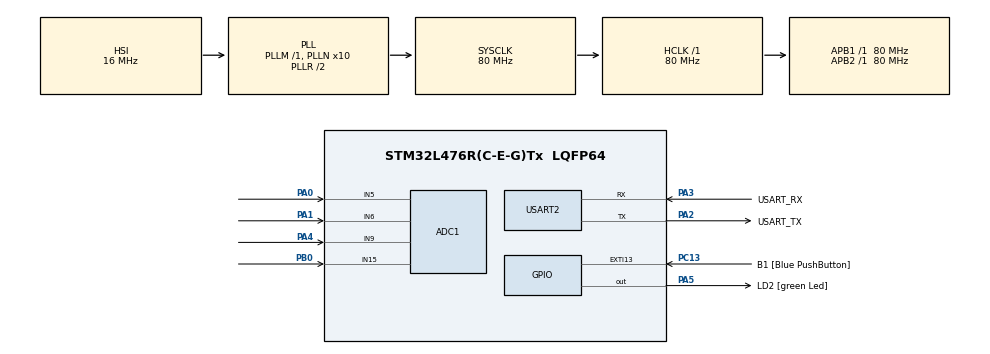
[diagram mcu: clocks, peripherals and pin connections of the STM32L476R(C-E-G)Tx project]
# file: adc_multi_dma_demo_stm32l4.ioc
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ADC1.Channel-0\#ChannelRegularConversion=ADC_CHANNEL_5
ADC1.Channel-1\#ChannelRegularConversion=ADC_CHANNEL_6
ADC1.Channel-2\#ChannelRegularConversion=ADC_CHANNEL_9
ADC1.Channel-3\#ChannelRegularConversion=ADC_CHANNEL_15
ADC1.ClockPrescaler=ADC_CLOCK_ASYNC_DIV4
ADC1.ContinuousConvMode=ENABLE
ADC1.DMAContinuousRequests=ENABLE
ADC1.EOCSelection=ADC_EOC_SEQ_CONV
ADC1.NbrOfConversion=4
ADC1.NbrOfConversionFlag=1
ADC1.OffsetNumber-0\#ChannelRegularConversion=ADC_OFFSET_NONE
ADC1.OffsetNumber-1\#ChannelRegularConversion=ADC_OFFSET_NONE
ADC1.OffsetNumber-2\#ChannelRegularConversion=ADC_OFFSET_NONE
ADC1.OffsetNumber-3\#ChannelRegularConversion=ADC_OFFSET_NONE
ADC1.Rank-0\#ChannelRegularConversion=1
ADC1.Rank-1\#ChannelRegularConversion=2
ADC1.Rank-2\#ChannelRegularConversion=3
ADC1.Rank-3\#ChannelRegularConversion=4
ADC1.SamplingTime-0\#ChannelRegularConversion=ADC_SAMPLETIME_12CYCLES_5
ADC1.SamplingTime-1\#ChannelRegularConversion=ADC_SAMPLETIME_12CYCLES_5
ADC1.SamplingTime-2\#ChannelRegularConversion=ADC_SAMPLETIME_12CYCLES_5
ADC1.SamplingTime-3\#ChannelRegularConversion=ADC_SAMPLETIME_12CYCLES_5
ADC1.master=1
Dma.ADC1.0.Direction=DMA_PERIPH_TO_MEMORY
Dma.ADC1.0.Instance=DMA1_Channel1
Dma.ADC1.0.MemDataAlignment=DMA_MDATAALIGN_HALFWORD
Dma.ADC1.0.MemInc=DMA_MINC_ENABLE
Dma.ADC1.0.Mode=DMA_CIRCULAR
Dma.ADC1.0.PeriphDataAlignment=DMA_PDATAALIGN_HALFWORD
Dma.ADC1.0.PeriphInc=DMA_PINC_DISABLE
Dma.ADC1.0.Priority=DMA_PRIORITY_LOW
Dma.Request0=ADC1
Mcu.Family=STM32L4
Mcu.Name=STM32L476R(C-E-G)Tx
Mcu.Package=LQFP64
NVIC.DMA1_Channel1_IRQn=true\:0\:0\:false\:false\:true\:false\:true
NVIC.PriorityGroup=NVIC_PRIORITYGROUP_4
PA0.Signal=ADCx_IN5
PA1.Signal=ADCx_IN6
PA13\ (JTMS-SWDIO).GPIO_Label=TMS
PA13\ (JTMS-SWDIO).Mode=Serial_Wire
PA13\ (JTMS-SWDIO).Signal=SYS_JTMS-SWDIO
PA14\ (JTCK-SWCLK).GPIO_Label=TCK
PA14\ (JTCK-SWCLK).Mode=Serial_Wire
PA14\ (JTCK-SWCLK).Signal=SYS_JTCK-SWCLK
PA2.GPIO_Label=USART_TX
PA2.GPIO_Mode=GPIO_MODE_AF_PP
PA2.GPIO_PuPd=GPIO_NOPULL
PA2.GPIO_Speed=GPIO_SPEED_FREQ_VERY_HIGH
PA2.Mode=Asynchronous
PA2.Signal=USART2_TX
PA3.GPIO_Label=USART_RX
PA3.GPIO_Mode=GPIO_MODE_AF_PP
PA3.GPIO_PuPd=GPIO_NOPULL
PA3.GPIO_Speed=GPIO_SPEED_FREQ_VERY_HIGH
PA3.Mode=Asynchronous
PA3.Signal=USART2_RX
PA4.Signal=ADCx_IN9
PA5.GPIO_Label=LD2 [green Led]
PA5.GPIO_ModeDefaultOutputPP=GPIO_MODE_OUTPUT_PP
PA5.GPIO_PuPd=GPIO_NOPULL
PA5.GPIO_Speed=GPIO_SPEED_FREQ_LOW
PA5.Signal=GPIO_Output
PB0.Signal=ADCx_IN15
PB3\ (JTDO-TRACESWO).GPIO_Label=SWO
PB3\ (JTDO-TRACESWO).Signal=SYS_JTDO-SWO
PC13.GPIO_Label=B1 [Blue PushButton]
PC13.GPIO_ModeDefaultEXTI=GPIO_MODE_IT_FALLING
PC13.GPIO_PuPd=GPIO_NOPULL
PC13.Signal=GPXTI13
PC14-OSC32_IN\ (PC14).Mode=LSE-External-Oscillator
PC14-OSC32_IN\ (PC14).Signal=RCC_OSC32_IN
PC15-OSC32_OUT\ (PC15).Mode=LSE-External-Oscillator
PC15-OSC32_OUT\ (PC15).Signal=RCC_OSC32_OUT
PH0-OSC_IN\ (PH0).Signal=RCC_OSC_IN
PH1-OSC_OUT\ (PH1).Signal=RCC_OSC_OUT
ProjectManager.HeapSize=0x200
ProjectManager.StackSize=0x400
ProjectManager.TargetToolchain=STM32CubeIDE
RCC.ADCFreq_Value=64000000
RCC.AHBFreq_Value=80000000
RCC.APB1Freq_Value=80000000
RCC.APB1TimFreq_Value=80000000
RCC.APB2Freq_Value=80000000
RCC.APB2TimFreq_Value=80000000
RCC.CortexFreq_Value=80000000
RCC.HCLKFreq_Value=80000000
RCC.HSE_VALUE=8000000
RCC.HSI_VALUE=16000000
RCC.MSI_VALUE=4000000
RCC.PLLN=10
RCC.PLLSourceVirtual=RCC_PLLSOURCE_HSI
RCC.PREFETCH_ENABLE=1
RCC.SYSCLKFreq_VALUE=80000000
RCC.SYSCLKSource=RCC_SYSCLKSOURCE_PLLCLK
RCC.USBFreq_Value=64000000
RCC.VCOOutputFreq_Value=160000000
SH.ADCx_IN15.0=ADC1_IN15,IN15-Single-Ended
SH.ADCx_IN5.0=ADC1_IN5,IN5-Single-Ended
SH.ADCx_IN6.0=ADC1_IN6,IN6-Single-Ended
SH.ADCx_IN9.0=ADC1_IN9,IN9-Single-Ended
USART2.VirtualMode-Asynchronous=VM_ASYNC
board=NUCLEO-L476RG

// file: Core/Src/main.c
/* USER CODE BEGIN Header */
/**
  ******************************************************************************
  * @file           : main.c
  * @brief          : Main program body
  ******************************************************************************
  * @attention
  *
  * Copyright (c) 2022 STMicroelectronics.
  * All rights reserved.
  *
  * This software is licensed under terms that can be found in the LICENSE file
  * in the root directory of this software component.
  * If no LICENSE file comes with this software, it is provided AS-IS.
  *
  ******************************************************************************
  */
/* USER CODE END Header */
#include "main.h"

/* USER CODE BEGIN Includes */
#include <stdio.h>
#include <string.h>
/* USER CODE END Includes */

/* USER CODE BEGIN PD */
#define NUM_ADC_INPUTS 4
/* USER CODE END PD */

ADC_HandleTypeDef hadc1;
DMA_HandleTypeDef hdma_adc1;

UART_HandleTypeDef huart2;

/* USER CODE BEGIN PV */
uint16_t adc_data_buf[NUM_ADC_INPUTS];

uint16_t adc_data0;
uint16_t adc_data1;
uint16_t adc_data2;
uint16_t adc_data3;
/* USER CODE END PV */

void SystemClock_Config(void);
static void MX_GPIO_Init(void);
static void MX_USART2_UART_Init(void);
static void MX_DMA_Init(void);
static void MX_ADC1_Init(void);
/* USER CODE BEGIN PFP */
int _write(int fd, char* ptr, int len) {
    HAL_UART_Transmit(&huart2, (uint8_t *) ptr, len, HAL_MAX_DELAY);
    return len;
}
/* USER CODE END PFP */

int main(void)
{

  /* MCU Configuration--------------------------------------------------------*/

  /* Reset of all peripherals, Initializes the Flash interface and the Systick. */
  HAL_Init();

  /* Configure the system clock */
  SystemClock_Config();

  /* Initialize all configured peripherals */
  MX_GPIO_Init();
  MX_USART2_UART_Init();
  MX_DMA_Init();
  MX_ADC1_Init();
  /* USER CODE BEGIN 2 */
  HAL_ADC_Start_DMA(&hadc1, (uint32_t*)adc_data_buf, NUM_ADC_INPUTS);

  /* USER CODE END 2 */

  /* Infinite loop */
  while (1)
  {

    /* USER CODE BEGIN 3 */
	  printf("A0: %hu \t A1: %hu \t A2: %hu \t A3: %hu\r\n", adc_data0, adc_data1, adc_data2, adc_data3);

//	  HAL_GPIO_WritePin(LD2_GPIO_Port, LD2_Pin, GPIO_PIN_SET);
//	  HAL_Delay(1000);
//	  HAL_GPIO_WritePin(LD2_GPIO_Port, LD2_Pin, GPIO_PIN_RESET);
//	  HAL_Delay(1000);
  }
  /* USER CODE END 3 */
}

void SystemClock_Config(void)
{
  RCC_OscInitTypeDef RCC_OscInitStruct = {0};
  RCC_ClkInitTypeDef RCC_ClkInitStruct = {0};

  /** Configure the main internal regulator output voltage
  */
  if (HAL_PWREx_ControlVoltageScaling(PWR_REGULATOR_VOLTAGE_SCALE1) != HAL_OK)
  {
    Error_Handler();
  }
  /** Initializes the RCC Oscillators according to the specified parameters
  * in the RCC_OscInitTypeDef structure.
  */
  RCC_OscInitStruct.OscillatorType = RCC_OSCILLATORTYPE_HSI;
  RCC_OscInitStruct.HSIState = RCC_HSI_ON;
  RCC_OscInitStruct.HSICalibrationValue = RCC_HSICALIBRATION_DEFAULT;
  RCC_OscInitStruct.PLL.PLLState = RCC_PLL_ON;
  RCC_OscInitStruct.PLL.PLLSource = RCC_PLLSOURCE_HSI;
  RCC_OscInitStruct.PLL.PLLM = 1;
  RCC_OscInitStruct.PLL.PLLN = 10;
  RCC_OscInitStruct.PLL.PLLP = RCC_PLLP_DIV7;
  RCC_OscInitStruct.PLL.PLLQ = RCC_PLLQ_DIV2;
  RCC_OscInitStruct.PLL.PLLR = RCC_PLLR_DIV2;
  if (HAL_RCC_OscConfig(&RCC_OscInitStruct) != HAL_OK)
  {
    Error_Handler();
  }
  /** Initializes the CPU, AHB and APB buses clocks
  */
  RCC_ClkInitStruct.ClockType = RCC_CLOCKTYPE_HCLK|RCC_CLOCKTYPE_SYSCLK
                              |RCC_CLOCKTYPE_PCLK1|RCC_CLOCKTYPE_PCLK2;
  RCC_ClkInitStruct.SYSCLKSource = RCC_SYSCLKSOURCE_PLLCLK;
  RCC_ClkInitStruct.AHBCLKDivider = RCC_SYSCLK_DIV1;
  RCC_ClkInitStruct.APB1CLKDivider = RCC_HCLK_DIV1;
  RCC_ClkInitStruct.APB2CLKDivider = RCC_HCLK_DIV1;

  if (HAL_RCC_ClockConfig(&RCC_ClkInitStruct, FLASH_LATENCY_4) != HAL_OK)
  {
    Error_Handler();
  }
}

static void MX_ADC1_Init(void)
{

  ADC_MultiModeTypeDef multimode = {0};
  ADC_ChannelConfTypeDef sConfig = {0};

  /** Common config
  */
  hadc1.Instance = ADC1;
  hadc1.Init.ClockPrescaler = ADC_CLOCK_ASYNC_DIV4;
  hadc1.Init.Resolution = ADC_RESOLUTION_12B;
  hadc1.Init.DataAlign = ADC_DATAALIGN_RIGHT;
  hadc1.Init.ScanConvMode = ADC_SCAN_ENABLE;
  hadc1.Init.EOCSelection = ADC_EOC_SEQ_CONV;
  hadc1.Init.LowPowerAutoWait = DISABLE;
  hadc1.Init.ContinuousConvMode = ENABLE;
  hadc1.Init.NbrOfConversion = 4;
  hadc1.Init.DiscontinuousConvMode = DISABLE;
  hadc1.Init.ExternalTrigConv = ADC_SOFTWARE_START;
  hadc1.Init.ExternalTrigConvEdge = ADC_EXTERNALTRIGCONVEDGE_NONE;
  hadc1.Init.DMAContinuousRequests = ENABLE;
  hadc1.Init.Overrun = ADC_OVR_DATA_PRESERVED;
  hadc1.Init.OversamplingMode = DISABLE;
  if (HAL_ADC_Init(&hadc1) != HAL_OK)
  {
    Error_Handler();
  }
  /** Configure the ADC multi-mode
  */
  multimode.Mode = ADC_MODE_INDEPENDENT;
  if (HAL_ADCEx_MultiModeConfigChannel(&hadc1, &multimode) != HAL_OK)
  {
    Error_Handler();
  }
  /** Configure Regular Channel
  */
  sConfig.Channel = ADC_CHANNEL_5;
  sConfig.Rank = ADC_REGULAR_RANK_1;
  sConfig.SamplingTime = ADC_SAMPLETIME_12CYCLES_5;
  sConfig.SingleDiff = ADC_SINGLE_ENDED;
  sConfig.OffsetNumber = ADC_OFFSET_NONE;
  sConfig.Offset = 0;
  if (HAL_ADC_ConfigChannel(&hadc1, &sConfig) != HAL_OK)
  {
    Error_Handler();
  }
  /** Configure Regular Channel
  */
  sConfig.Channel = ADC_CHANNEL_6;
  sConfig.Rank = ADC_REGULAR_RANK_2;
  if (HAL_ADC_ConfigChannel(&hadc1, &sConfig) != HAL_OK)
  {
    Error_Handler();
  }
  /** Configure Regular Channel
  */
  sConfig.Channel = ADC_CHANNEL_9;
  sConfig.Rank = ADC_REGULAR_RANK_3;
  if (HAL_ADC_ConfigChannel(&hadc1, &sConfig) != HAL_OK)
  {
    Error_Handler();
  }
  /** Configure Regular Channel
  */
  sConfig.Channel = ADC_CHANNEL_15;
  sConfig.Rank = ADC_REGULAR_RANK_4;
  if (HAL_ADC_ConfigChannel(&hadc1, &sConfig) != HAL_OK)
  {
    Error_Handler();
  }

}

static void MX_USART2_UART_Init(void)
{

  huart2.Instance = USART2;
  huart2.Init.BaudRate = 115200;
  huart2.Init.WordLength = UART_WORDLENGTH_8B;
  huart2.Init.StopBits = UART_STOPBITS_1;
  huart2.Init.Parity = UART_PARITY_NONE;
  huart2.Init.Mode = UART_MODE_TX_RX;
  huart2.Init.HwFlowCtl = UART_HWCONTROL_NONE;
  huart2.Init.OverSampling = UART_OVERSAMPLING_16;
  huart2.Init.OneBitSampling = UART_ONE_BIT_SAMPLE_DISABLE;
  huart2.AdvancedInit.AdvFeatureInit = UART_ADVFEATURE_NO_INIT;
  if (HAL_UART_Init(&huart2) != HAL_OK)
  {
    Error_Handler();
  }

}

static void MX_DMA_Init(void)
{

  /* DMA controller clock enable */
  __HAL_RCC_DMA1_CLK_ENABLE();

  /* DMA interrupt init */
  /* DMA1_Channel1_IRQn interrupt configuration */
  HAL_NVIC_SetPriority(DMA1_Channel1_IRQn, 0, 0);
  HAL_NVIC_EnableIRQ(DMA1_Channel1_IRQn);

}

static void MX_GPIO_Init(void)
{
  GPIO_InitTypeDef GPIO_InitStruct = {0};

  /* GPIO Ports Clock Enable */
  __HAL_RCC_GPIOC_CLK_ENABLE();
  __HAL_RCC_GPIOH_CLK_ENABLE();
  __HAL_RCC_GPIOA_CLK_ENABLE();
  __HAL_RCC_GPIOB_CLK_ENABLE();

  /*Configure GPIO pin Output Level */
  HAL_GPIO_WritePin(LD2_GPIO_Port, LD2_Pin, GPIO_PIN_RESET);

  /*Configure GPIO pin : B1_Pin */
  GPIO_InitStruct.Pin = B1_Pin;
  GPIO_InitStruct.Mode = GPIO_MODE_IT_FALLING;
  GPIO_InitStruct.Pull = GPIO_NOPULL;
  HAL_GPIO_Init(B1_GPIO_Port, &GPIO_InitStruct);

  /*Configure GPIO pin : LD2_Pin */
  GPIO_InitStruct.Pin = LD2_Pin;
  GPIO_InitStruct.Mode = GPIO_MODE_OUTPUT_PP;
  GPIO_InitStruct.Pull = GPIO_NOPULL;
  GPIO_InitStruct.Speed = GPIO_SPEED_FREQ_LOW;
  HAL_GPIO_Init(LD2_GPIO_Port, &GPIO_InitStruct);

}

/* USER CODE BEGIN 4 */

// Called when buffer is completely filled
void HAL_ADC_ConvCpltCallback(ADC_HandleTypeDef* hadc) {
	adc_data0 = adc_data_buf[0];
	adc_data1 = adc_data_buf[1];
	adc_data2 = adc_data_buf[2];
	adc_data3 = adc_data_buf[3];
}

/* USER CODE END 4 */

void Error_Handler(void)
{
  __disable_irq();
  while (1)
  {
  }
}
